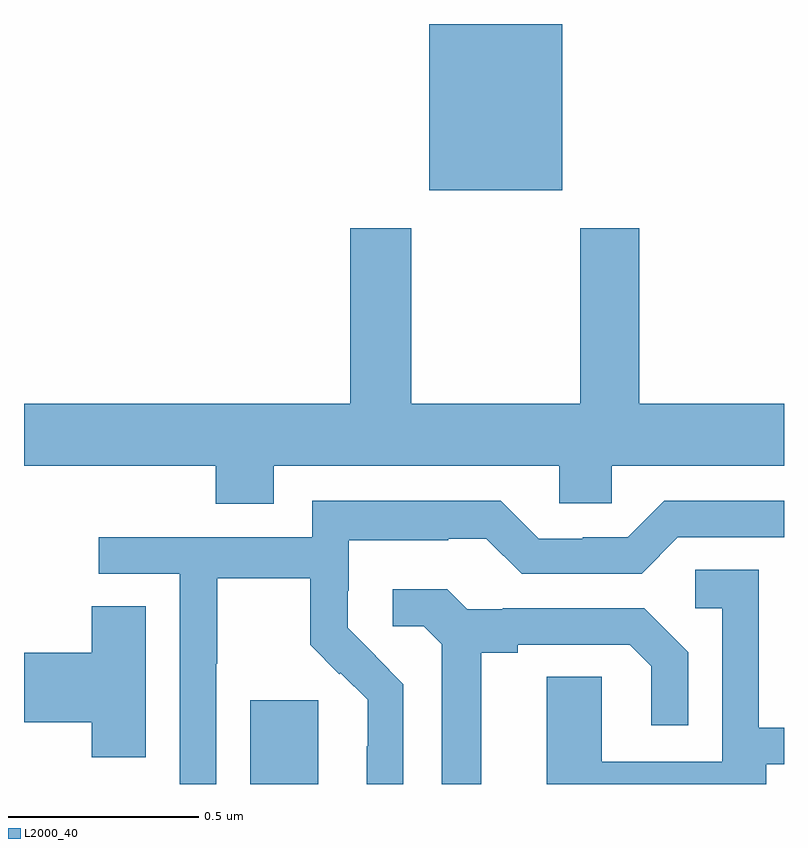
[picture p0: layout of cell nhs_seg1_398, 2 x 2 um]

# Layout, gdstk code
import gdstk
lib = gdstk.Library(unit=1e-6, precision=1e-09)
def R(c, l, rs):  # rectangles x0, y0, x1, y1
    for r in rs: c.add(gdstk.rectangle(r[:2], r[2:], *l))
def P(c, l, *ps):  # polygons
    for p in ps: c.add(gdstk.Polygon(p, *l))
L2000_40 = (2000, 40)

nhs_seg1_398 = lib.new_cell('nhs_seg1_398')
R(nhs_seg1_398, L2000_40, [(115.595,580.199,115.774,580.419), (116.066,581.762,116.416,582.199)])
P(nhs_seg1_398, L2000_40, [(115.657,581.036),(116.409,581.036),(116.409,580.938),(116.547,580.938),(116.547,581.036),(117,581.036),(117,581.2),(116.619,581.2),(116.619,581.662),(116.464,581.662),(116.464,581.2),(116.019,581.2),(116.019,581.662),(115.859,581.662),(115.859,581.2),(115,581.2),(115,581.036),(115.505,581.036),(115.505,580.937),(115.657,580.937)],
  [(115.506,580.516),(115.509,580.516),(115.509,580.74),(115.753,580.74),(115.753,580.565),(115.83,580.488),(115.833,580.491),(115.904,580.421),(115.904,580.298),(115.902,580.298),(115.902,580.199),(115.998,580.199),(115.998,580.462),(115.925,580.535),(115.926,580.536),(115.852,580.61),(115.852,580.707),(115.854,580.707),(115.854,580.841),(116.117,580.841),(116.117,580.845),(116.217,580.845),(116.31,580.752),(116.625,580.752),(116.721,580.848),(117,580.848),(117,580.944),(116.685,580.944),(116.589,580.848),(116.471,580.848),(116.471,580.845),(116.355,580.845),(116.255,580.945),(115.758,580.945),(115.758,580.848),(115.197,580.848),(115.197,580.752),(115.41,580.752),(115.41,580.199),(115.506,580.199)],
  [(116.953,580.251),(117,580.251),(117,580.347),(116.934,580.347),(116.934,580.763),(116.766,580.763),(116.766,580.662),(116.838,580.662),(116.838,580.257),(116.52,580.257),(116.52,580.481),(116.375,580.481),(116.375,580.199),(116.953,580.199)],
  [(116.203,580.544),(116.299,580.544),(116.299,580.566),(116.594,580.566),(116.651,580.509),(116.651,580.353),(116.748,580.353),(116.748,580.546),(116.632,580.662),(116.26,580.662),(116.26,580.659),(116.166,580.659),(116.114,580.711),(115.971,580.711),(115.971,580.614),(116.052,580.614),(116.099,580.567),(116.099,580.199),(116.203,580.199)],
  [(115.321,580.667),(115.178,580.667),(115.178,580.544),(115,580.544),(115,580.361),(115.178,580.361),(115.178,580.27),(115.321,580.27)])

lib.write_gds('nhs_seg1_398.gds')
